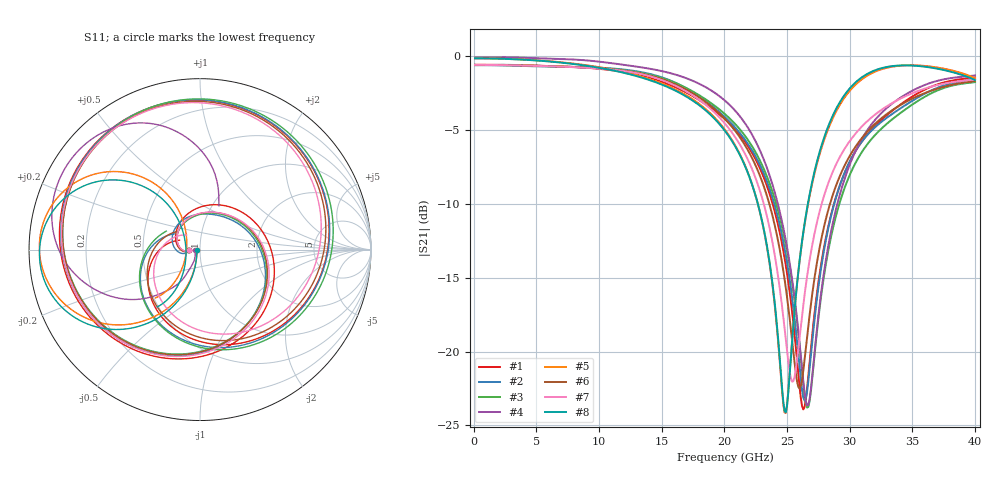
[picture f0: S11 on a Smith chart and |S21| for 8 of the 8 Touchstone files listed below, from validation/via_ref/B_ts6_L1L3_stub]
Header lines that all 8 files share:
# Hz S RI R 50
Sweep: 100 MHz to 40 GHz
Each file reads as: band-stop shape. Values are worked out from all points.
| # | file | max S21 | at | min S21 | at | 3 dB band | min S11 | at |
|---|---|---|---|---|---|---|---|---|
| 1 | cst.s2p | -0.59 dB | 200 MHz | -23.9 dB | 26.3 GHz | 100 MHz-19 GHz | -23.6 dB | 100 MHz |
| 2 | cst_fine.s2p | -0.62 dB | 200 MHz | -23.3 dB | 26.4 GHz | 100 MHz-19.3 GHz | -23.3 dB | 100 MHz |
| 3 | kisi.s2p | -0.59 dB | 2.3 GHz | -23.8 dB | 26.6 GHz | 100 MHz-19.5 GHz | -23.2 dB | 100 MHz |
| 4 | kisi_deembedded.s2p | -0.08 dB | 2.3 GHz | -23.7 dB | 26.6 GHz | 100 MHz-20.1 GHz | -31.0 dB | 100 MHz |
| 5 | ladder.s2p | -0.15 dB | 100 MHz | -24.2 dB | 24.9 GHz | 100 MHz-17.8 GHz | -34.9 dB | 100 MHz |
| 6 | openems.s2p | -0.60 dB | 100 MHz | -22.5 dB | 26 GHz | 100 MHz-19.2 GHz | -23.6 dB | 100 MHz |
| 7 | openems_base.s2p | -0.60 dB | 100 MHz | -22.0 dB | 25.4 GHz | 100 MHz-18.9 GHz | -23.5 dB | 100 MHz |
| 8 | pbm.s2p | -0.15 dB | 100 MHz | -24.1 dB | 24.9 GHz | 100 MHz-17.7 GHz | -34.9 dB | 100 MHz |
